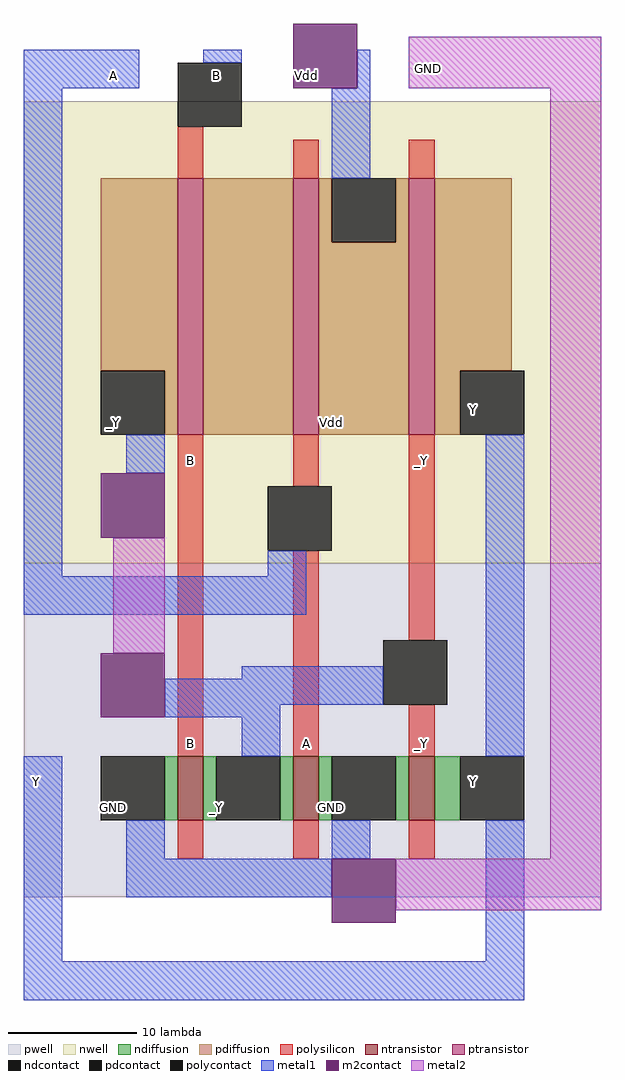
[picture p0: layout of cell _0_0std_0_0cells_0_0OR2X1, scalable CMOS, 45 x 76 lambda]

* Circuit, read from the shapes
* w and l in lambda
.subckt _0_0std_0_0cells_0_0OR2X1 Vdd B A Y GND
M1 _Y B GND VSUBS nfet w=5 l=2
M2 GND A _Y VSUBS nfet w=5 l=2
M3 Y _Y GND VSUBS nfet w=5 l=2
M4 n1 B _Y n2 pfet w=20 l=2
M5 Vdd A n1 n2 pfet w=20 l=2
M6 Y _Y Vdd n2 pfet w=20 l=2
.ends

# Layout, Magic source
magic
tech scmos
<< nwell >>
rect 2 14 47 50
<< pwell >>
rect 2 -12 47 14
<< ntransistor >>
rect 14 -6 16 -1
rect 23 -6 25 -1
rect 32 -6 34 -1
<< ptransistor >>
rect 14 24 16 44
rect 23 24 25 44
rect 32 24 34 44
<< ndiffusion >>
rect 13 -6 14 -1
rect 16 -6 17 -1
rect 22 -6 23 -1
rect 25 -6 26 -1
rect 31 -6 32 -1
rect 34 -6 36 -1
<< pdiffusion >>
rect 8 29 14 44
rect 13 24 14 29
rect 16 24 23 44
rect 25 39 26 44
rect 31 39 32 44
rect 25 24 32 39
rect 34 29 40 44
rect 34 24 36 29
<< ndcontact >>
rect 8 -6 13 -1
rect 17 -6 22 -1
rect 26 -6 31 -1
rect 36 -6 41 -1
<< pdcontact >>
rect 8 24 13 29
rect 26 39 31 44
rect 36 24 41 29
<< polysilicon >>
rect 14 44 16 48
rect 23 44 25 47
rect 32 44 34 47
rect 14 -1 16 24
rect 23 20 25 24
rect 23 -1 25 15
rect 32 8 34 24
rect 32 -1 34 3
rect 14 -9 16 -6
rect 23 -9 25 -6
rect 32 -9 34 -6
<< polycontact >>
rect 14 48 19 53
rect 21 15 26 20
rect 30 3 35 8
<< metal1 >>
rect 2 51 11 54
rect 16 53 19 54
rect 2 13 5 51
rect 28 51 29 54
rect 26 44 29 51
rect 10 21 13 24
rect 21 13 24 15
rect 2 10 24 13
rect 19 5 30 6
rect 13 3 30 5
rect 13 2 22 3
rect 19 -1 22 2
rect 38 -1 41 24
rect 2 -17 5 -1
rect 10 -9 13 -6
rect 26 -9 29 -6
rect 10 -12 26 -9
rect 38 -17 41 -6
rect 2 -20 41 -17
<< m2contact >>
rect 23 51 28 56
rect 8 16 13 21
rect 8 2 13 7
rect 26 -14 31 -9
<< metal2 >>
rect 32 51 47 55
rect 9 7 13 16
rect 43 -9 47 51
rect 31 -13 47 -9
<< labels >>
rlabel polysilicon 33 22 33 22 3 _Y
rlabel pdiffusion 26 25 26 25 3 Vdd
rlabel polysilicon 15 22 15 22 3 B
rlabel metal1 9 52 9 52 3 A
port 5 e
rlabel polycontact 17 52 17 52 3 B
port 3 e
rlabel pdcontact 9 25 9 25 3 _Y
rlabel ndiffusion 17 -5 17 -5 3 _Y
rlabel polysilicon 15 0 15 0 3 B
rlabel polysilicon 24 0 24 0 3 A
rlabel ndiffusion 26 -5 26 -5 3 GND
rlabel polysilicon 33 0 33 0 3 _Y
rlabel ndcontact 9 -5 9 -5 3 GND
rlabel metal1 3 -3 3 -3 3 Y
port 6 e default output
rlabel pdcontact 37 26 37 26 1 Y
rlabel ndcontact 37 -3 37 -3 1 Y
rlabel m2contact 24 52 24 52 3 Vdd
port 2 e power input
rlabel metal2 32 51 35 54 0 GND
port 7 nsew ground input
<< end >>
